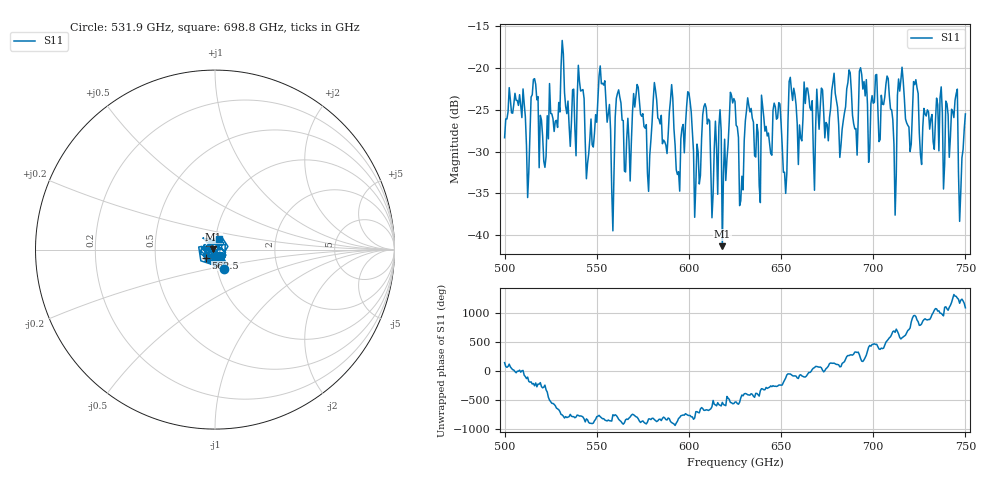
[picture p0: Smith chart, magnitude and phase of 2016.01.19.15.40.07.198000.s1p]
!Created with skrf (http://scikit-rf.org).
# GHz S RI R 50.0
!freq ReS11 ImS11
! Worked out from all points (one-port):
!   401 points, 500 GHz to 750 GHz, reference 50 ohm
!   lowest |S11| = -41.3 dB at 618.1 GHz (marker M1), VSWR 1.02, Z = 49.1 + j0.0656 ohm
!   |S11| at or under -10 dB: start of sweep to end of sweep
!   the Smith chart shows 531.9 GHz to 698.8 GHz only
!   S11 on the Smith chart (normalised r, x): 531.9 GHz: 1.08, -0.24; 562.5 GHz: 0.90, -0.08; 698.8 GHz: 1.03, +0.12
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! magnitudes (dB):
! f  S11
! 500 GHz  -28.3
! 512.5 GHz  -35.5
! 516.9 GHz  -21.9
! 522.5 GHz  -30.6
! 531.2 GHz  -16.7
! 531.9 GHz  -18.3
! 545 GHz  -31.4
! 552.5 GHz  -21.9
! 558.8 GHz  -39.5
! 562.5 GHz  -23.5
! 578.1 GHz  -34.7
! 590.6 GHz  -22.0
! 593.8 GHz  -32.7
! 600 GHz  -23.0
! 604.4 GHz  -29.1
! 608.8 GHz  -24.3
! 618.1 GHz  -41.3
! 625 GHz  -24.0
! 628.1 GHz  -35.9
! 632.5 GHz  -24.5
! 651.9 GHz  -32.5
! 656.2 GHz  -23.9
! 687.5 GHz  -20.5
! 698.8 GHz  -24.2
! 718.8 GHz  -26.8
! 744.4 GHz  -23.9
! 747.5 GHz  -34.8
! 750 GHz  -25.5
